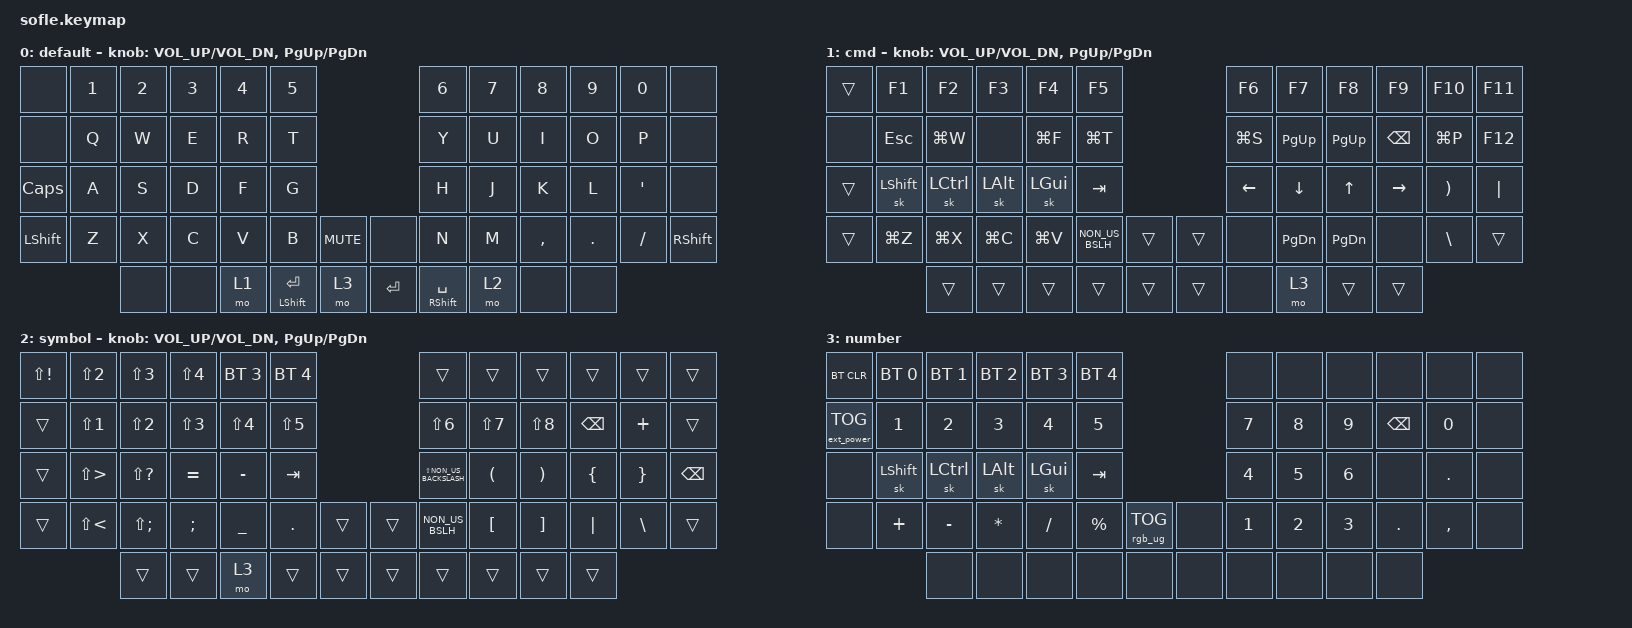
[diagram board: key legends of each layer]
/*
 * Copyright (c) 2020 The ZMK Contributors
 *
 * SPDX-License-Identifier: MIT
 */

#include <behaviors.dtsi>
#include <dt-bindings/zmk/bt.h>
#include <dt-bindings/zmk/ext_power.h>
#include <dt-bindings/zmk/keys.h>
#include <dt-bindings/zmk/rgb.h>

#define BASE 0
#define LOWER 1
#define RAISE 2
#define ADJUST 3

/ {
    // Activate ADJUST layer by pressing raise and lower

    conditional_layers { compatible = "zmk,conditional-layers"; };

    combos {
        compatible = "zmk,combos";

        mo3 {
            bindings = <&mo 3>;
            key-positions = <52 57>;
        };

        jk-to-esc {
            bindings = <&kp ESCAPE>;
            key-positions = <31 32>;
        };

        mo3x {
            bindings = <&tog 3>;
            key-positions = <54 55>;
            slow-release;
        };

        fd_lgui {
            bindings = <&sk LGUI>;
            key-positions = <28 27>;
        };

        sd_ctrl {
            bindings = <&sk LCTRL>;
            key-positions = <27 26>;
        };
    };

    keymap {
        compatible = "zmk,keymap";

        default_layer {
            display-name = "default";

            // ------------------------------------------------------------------------------------------------------------
            // |   `   |  1  |  2  |  3   |  4   |  5   |                   |  6   |  7    |  8    |  9   |   0   |       |
            // |  ESC  |  Q  |  W  |  E   |  R   |  T   |                   |  Y   |  U    |  I    |  O   |   P   | BKSPC |
            // |  TAB  |  A  |  S  |  D   |  F   |  G   |                   |  H   |  J    |  K    |  L   |   ;   |   '   |
            // | SHIFT |  Z  |  X  |  C   |  V   |  B   |  MUTE  |  |       |  N   |  M    |  ,    |  .   |   /   | SHIFT |
            //               | GUI | ALT  | CTRL | LOWER|  ENTER |  | SPACE | RAISE| CTRL  | ALT   | GUI  |

            bindings = <
&none           &kp NUMBER_1  &kp N2  &kp N3  &kp N4  &kp N5                                         &kp N6                 &kp N7  &kp N8     &kp N9   &kp N0    &none
&none           &kp Q         &kp W   &kp E   &kp R   &kp T                                          &kp Y                  &kp U   &kp I      &kp O    &kp P     &none
&kp CAPSLOCK    &kp A         &kp S   &kp D   &kp F   &kp G                                          &kp H                  &kp J   &kp K      &kp L    &kp SQT   &none
&kp LEFT_SHIFT  &kp Z         &kp X   &kp C   &kp V   &kp B                 &kp C_MUTE    &none      &kp N                  &kp M   &kp COMMA  &kp DOT  &kp FSLH  &kp RSHFT
                              &none   &none   &mo 1   &mt LEFT_SHIFT ENTER  &mo 3         &kp ENTER  &mt RIGHT_SHIFT SPACE  &mo 2   &none      &none
            >;

            sensor-bindings = <&inc_dec_kp C_VOL_UP C_VOL_DN &inc_dec_kp PG_UP PG_DN>;
        };

        lower_layer {
            display-name = "cmd";

            // TODO: Some binds are waiting for shifted keycode support.
            // ------------------------------------------------------------------------------------------------------------
            // |       |  F1 |  F2 |  F3  |  F4  |  F5  |                   |  F6  |  F7   |  F8   |  F9  |  F10  |  F11  |
            // |   `   |  1  |  2  |  3   |  4   |  5   |                   |  6   |  7    |  8    |  9   |   0   |  F12  |
            // |       |  !  |  @  |  #   |  $   |  %   |                   |  ^   |  &    |  *    |  (   |   )   |   |   |
            // |       |  =  |  -  |  +   |  {   |  }   |        |  |       |  [   |  ]    |  ;    |  :   |   \   |       |
            //               |     |      |      |      |        |  |       |      |       |       |      |

            bindings = <
&trans  &kp F1          &kp F2     &kp F3        &kp F4        &kp F5                             &kp F6     &kp F7         &kp F8         &kp F9         &kp F10    &kp F11
&none   &kp ESCAPE      &kp LG(W)  &none         &kp LG(F)     &kp LG(T)                          &kp LG(S)  &kp PG_UP      &kp PAGE_UP    &kp BACKSPACE  &kp LG(P)  &kp F12
&trans  &sk LEFT_SHIFT  &sk LCTRL  &sk LEFT_ALT  &sk LEFT_GUI  &kp TAB                            &kp LEFT   &kp DOWN       &kp UP         &kp RIGHT      &kp RPAR   &kp PIPE
&trans  &kp LG(Z)       &kp LG(X)  &kp LG(C)     &kp LG(V)     &kp NON_US_BSLH  &trans    &trans  &none      &kp PAGE_DOWN  &kp PAGE_DOWN  &none          &kp BSLH   &trans
                        &trans     &trans        &trans        &trans           &trans    &trans  &none      &mo 3          &trans         &trans
            >;

            sensor-bindings = <&inc_dec_kp C_VOL_UP C_VOL_DN &inc_dec_kp PG_UP PG_DN>;
        };

        raise_layer {
            display-name = "symbol";

            // ------------------------------------------------------------------------------------------------------------
            // | BTCLR | BT1  | BT2  |  BT3  |  BT4  |  BT5 |                |      |      |       |      |       |       |
            // |       | INS  | PSCR | GUI   |       |      |                | PGUP |      |   ^   |      |       |       |
            // |       | ALT  | CTRL | SHIFT |       | CAPS |                | PGDN |   <- |   v   |  ->  |  DEL  | BKSPC |
            // |       | UNDO | CUT  | COPY  | PASTE |      |      |  |      |      |      |       |      |       |       |
            //                |      |       |       |      |      |  |      |      |      |       |      |

            bindings = <
&kp LS(EXCLAMATION)  &kp LS(NUMBER_2)      &kp LS(NUMBER_3)  &kp LS(NUMBER_4)  &bt BT_SEL 3      &bt BT_SEL 4                    &trans                    &trans                &trans                 &trans          &trans           &trans
&trans               &kp LS(NUMBER_1)      &kp LS(NUMBER_2)  &kp LS(NUMBER_3)  &kp LS(NUMBER_4)  &kp LS(N5)                      &kp LS(NUMBER_6)          &kp LS(N7)            &kp LS(N8)             &kp BACKSPACE   &kp PLUS         &trans
&trans               &kp LS(GREATER_THAN)  &kp LS(QUESTION)  &kp EQUAL         &kp MINUS         &kp TAB                         &kp LS(NON_US_BACKSLASH)  &kp LEFT_PARENTHESIS  &kp RIGHT_PARENTHESIS  &kp LEFT_BRACE  &kp RIGHT_BRACE  &kp BSPC
&trans               &kp LS(LESS_THAN)     &kp LS(SEMI)      &kp SEMICOLON     &kp UNDERSCORE    &kp PERIOD    &trans    &trans  &kp NON_US_BSLH           &kp LEFT_BRACKET      &kp RIGHT_BRACKET      &kp PIPE        &kp BACKSLASH    &trans
                                           &trans            &trans            &mo 3             &trans        &trans    &trans  &trans                    &trans                &trans                 &trans
            >;

            sensor-bindings = <&inc_dec_kp C_VOL_UP C_VOL_DN &inc_dec_kp PG_UP PG_DN>;
        };

        adjust_layer {
            // ----------------------------------------------------------------------------------------------------------------------------
            // | BTCLR  |  BT1    |  BT2    |   BT3   |   BT4   |   BT5   |                  |      |      |       |      |       |       |
            // | EXTPWR | RGB_HUD | RGB_HUI | RGB_SAD | RGB_SAI | RGB_EFF |                  |      |      |       |      |       |       |
            // |        | RGB_BRD | RGB_BRI |         |         |         |                  |      |      |       |      |       |       |
            // |        |         |         |         |         |         | RGB_TOG | |      |      |      |       |      |       |       |
            //                    |         |         |         |         |         | |      |      |      |       |      |

            display-name = "number";
            bindings = <
&bt BT_CLR         &bt BT_SEL 0    &bt BT_SEL 1  &bt BT_SEL 2  &bt BT_SEL 3  &bt BT_SEL 4                            &none         &none         &none         &none          &none       &none
&ext_power EP_TOG  &kp NUMBER_1    &kp NUMBER_2  &kp NUMBER_3  &kp NUMBER_4  &kp N5                                  &kp N7        &kp N8        &kp N9        &kp BACKSPACE  &kp N0      &none
&none              &sk LEFT_SHIFT  &sk LCTRL     &sk LEFT_ALT  &sk LGUI      &kp TAB                                 &kp NUMBER_4  &kp N5        &kp NUMBER_6  &none          &kp PERIOD  &none
&none              &kp PLUS        &kp MINUS     &kp ASTERISK  &kp SLASH     &kp PERCENT   &rgb_ug RGB_TOG    &none  &kp NUMBER_1  &kp NUMBER_2  &kp NUMBER_3  &kp PERIOD     &kp COMMA   &none
                                   &none         &none         &none         &none         &none              &none  &none         &none         &none         &none
            >;
        };
    };
};
